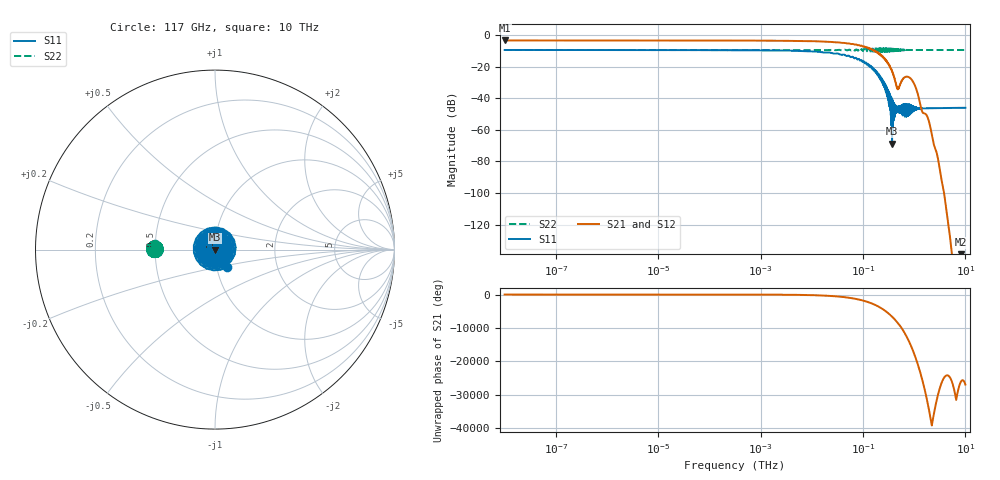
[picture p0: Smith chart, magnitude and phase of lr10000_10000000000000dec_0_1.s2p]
! NPort=2 DATA=4501 NOISE=0 GROUPDELAY=0 COMPLEX_DATAFORMAT=RI
! NumOfBlock=1 NumOfParam=0
! .MODEL Smodel S TSTONEFILE=./link_rx/link_rx_s2/lr10000_10000000000000dec_0_1.s2p TYPE=S
!  -- The above .MODEL line can be used for the S element in the netlist.
# Hz S RI R  50
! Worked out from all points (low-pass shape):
!   4501 points, 10 kHz to 10 THz, reference 50 ohm
!   highest |S21| = -3.52 dB at 10.05 kHz (marker M1); lowest = -198.1 dB at 8.054 THz (marker M2)
!   |S21| within 3 dB of the highest: start of sweep to 78.25 GHz; 80.71 GHz to 84.94 GHz (4.23 GHz wide, 5.11 % of centre)
!   lowest |S11| = -68.7 dB at 369.8 GHz (marker M3), VSWR 1.00, Z = 50 - j0.0365 ohm
!   |S11| at or under -10 dB: 4.171 GHz to end of sweep
!   |S22| runs from -10.8 to -8.4 dB; largest |S21 - S12| = 1e-10
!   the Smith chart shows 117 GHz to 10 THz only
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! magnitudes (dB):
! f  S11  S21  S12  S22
! 10 kHz  -9.5  -3.5  -3.5  -9.5
! 10.05 kHz  -9.5  -3.5  -3.5  -9.5
! 316.2 kHz  -9.5  -3.5  -3.5  -9.5
! 10 MHz  -9.6  -3.5  -3.5  -9.5
! 316.2 MHz  -9.7  -3.6  -3.6  -9.6
! 10 GHz  -10.4  -4.0  -4.0  -9.6
! 42.07 GHz  -12.5  -5.0  -5.0  -9.4
! 112.2 GHz  -17.4  -7.6  -7.6  -9.4
! 212.8 GHz  -25.7  -12.2  -12.2  -9.3
! 316.2 GHz  -37.1  -18.3  -18.3  -8.6
! 369.8 GHz  -68.7  -23.2  -23.2  -10.3
! 409.3 GHz  -49.1  -27.2  -27.2  -9.9
! 476.4 GHz  -46.6  -33.9  -33.9  -9.0
! 691.8 GHz  -44.2  -26.5  -26.5  -9.6
! 968.3 GHz  -46.9  -30.1  -30.1  -9.6
! 1.122 THz  -47.0  -35.1  -35.1  -9.6
! 1.419 THz  -46.5  -48.2  -48.2  -9.5
! 1.879 THz  -46.4  -53.2  -53.2  -9.6
! 2.489 THz  -46.3  -70.5  -70.5  -9.5
! 3.133 THz  -46.3  -84.3  -84.3  -9.5
! 8.054 THz  -46.1  -198.1  -198.1  -9.5
! 10 THz  -46.1  -  -  -9.5
